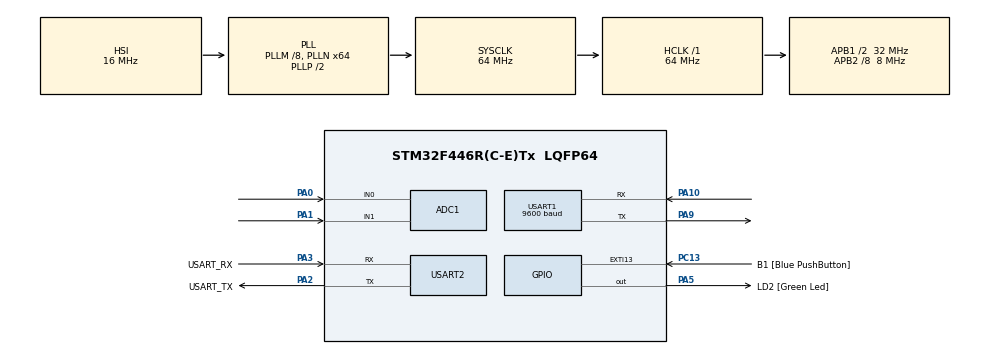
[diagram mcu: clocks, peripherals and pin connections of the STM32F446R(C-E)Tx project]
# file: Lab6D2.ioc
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ADC1.Channel-0\#ChannelRegularConversion=ADC_CHANNEL_0
ADC1.Channel-1\#ChannelRegularConversion=ADC_CHANNEL_1
ADC1.ClockPrescaler=ADC_CLOCK_SYNC_PCLK_DIV8
ADC1.ContinuousConvMode=ENABLE
ADC1.DMAContinuousRequests=ENABLE
ADC1.EOCSelection=ADC_EOC_SEQ_CONV
ADC1.NbrOfConversion=2
ADC1.NbrOfConversionFlag=1
ADC1.Rank-0\#ChannelRegularConversion=1
ADC1.Rank-1\#ChannelRegularConversion=2
ADC1.SamplingTime-0\#ChannelRegularConversion=ADC_SAMPLETIME_56CYCLES
ADC1.SamplingTime-1\#ChannelRegularConversion=ADC_SAMPLETIME_112CYCLES
ADC1.ScanConvMode=ENABLE
ADC1.master=1
Dma.ADC1.0.Direction=DMA_PERIPH_TO_MEMORY
Dma.ADC1.0.FIFOMode=DMA_FIFOMODE_DISABLE
Dma.ADC1.0.Instance=DMA2_Stream0
Dma.ADC1.0.MemDataAlignment=DMA_MDATAALIGN_HALFWORD
Dma.ADC1.0.MemInc=DMA_MINC_ENABLE
Dma.ADC1.0.Mode=DMA_CIRCULAR
Dma.ADC1.0.PeriphDataAlignment=DMA_PDATAALIGN_HALFWORD
Dma.ADC1.0.PeriphInc=DMA_PINC_DISABLE
Dma.ADC1.0.Priority=DMA_PRIORITY_LOW
Dma.Request0=ADC1
Mcu.Family=STM32F4
Mcu.Name=STM32F446R(C-E)Tx
Mcu.Package=LQFP64
NVIC.DMA2_Stream0_IRQn=true\:0\:0\:false\:false\:true\:false\:true\:true
NVIC.PriorityGroup=NVIC_PRIORITYGROUP_0
NVIC.USART1_IRQn=true\:0\:0\:false\:false\:true\:true\:true\:true
PA0-WKUP.Signal=ADCx_IN0
PA1.Signal=ADCx_IN1
PA10.Mode=Asynchronous
PA10.Signal=USART1_RX
PA13.GPIO_Label=TMS
PA13.Mode=Serial_Wire
PA13.Signal=SYS_JTMS-SWDIO
PA14.GPIO_Label=TCK
PA14.Mode=Serial_Wire
PA14.Signal=SYS_JTCK-SWCLK
PA2.GPIO_Label=USART_TX
PA2.Mode=Asynchronous
PA2.Signal=USART2_TX
PA3.GPIO_Label=USART_RX
PA3.Mode=Asynchronous
PA3.Signal=USART2_RX
PA5.GPIO_Label=LD2 [Green Led]
PA5.Signal=GPIO_Output
PA9.Mode=Asynchronous
PA9.Signal=USART1_TX
PB3.GPIO_Label=SWO
PB3.Signal=SYS_JTDO-SWO
PC13.GPIO_Label=B1 [Blue PushButton]
PC13.GPIO_ModeDefaultEXTI=GPIO_MODE_IT_FALLING
PC13.Signal=GPXTI13
PC14-OSC32_IN.Mode=LSE-External-Oscillator
PC14-OSC32_IN.Signal=RCC_OSC32_IN
PC15-OSC32_OUT.Mode=LSE-External-Oscillator
PC15-OSC32_OUT.Signal=RCC_OSC32_OUT
PH0-OSC_IN.Mode=HSE-External-Oscillator
PH0-OSC_IN.Signal=RCC_OSC_IN
PH1-OSC_OUT.Mode=HSE-External-Oscillator
PH1-OSC_OUT.Signal=RCC_OSC_OUT
ProjectManager.HeapSize=0x200
ProjectManager.StackSize=0x400
ProjectManager.TargetToolchain=STM32CubeIDE
RCC.48MHZClocksFreq_Value=84000000
RCC.AHBFreq_Value=64000000
RCC.APB1CLKDivider=RCC_HCLK_DIV2
RCC.APB1Freq_Value=32000000
RCC.APB1TimFreq_Value=64000000
RCC.APB2CLKDivider=RCC_HCLK_DIV8
RCC.APB2Freq_Value=8000000
RCC.APB2TimFreq_Value=16000000
RCC.CortexFreq_Value=64000000
RCC.FLatency-AdvancedSettings=FLASH_LATENCY_2
RCC.HCLKFreq_Value=64000000
RCC.HSE_VALUE=8000000
RCC.HSI_VALUE=16000000
RCC.PLLM=8
RCC.PLLN=64
RCC.SYSCLKFreq_VALUE=64000000
RCC.SYSCLKSource=RCC_SYSCLKSOURCE_PLLCLK
RCC.USBFreq_Value=64000000
RCC.VCOOutputFreq_Value=128000000
SH.ADCx_IN0.0=ADC1_IN0,IN0
SH.ADCx_IN1.0=ADC1_IN1,IN1
USART1.BaudRate=9600
USART1.VirtualMode=VM_ASYNC
USART2.VirtualMode=VM_ASYNC
board=NUCLEO-F446RE

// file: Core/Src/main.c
/* USER CODE BEGIN Header */
/**
  ******************************************************************************
  * @file           : main.c
  * @brief          : Main program body
  ******************************************************************************
  * @attention
  *
  * Copyright (c) 2026 STMicroelectronics.
  * All rights reserved.
  *
  * This software is licensed under terms that can be found in the LICENSE file
  * in the root directory of this software component.
  * If no LICENSE file comes with this software, it is provided AS-IS.
  *
  ******************************************************************************
  */
/* USER CODE END Header */
#include "main.h"

/* USER CODE BEGIN Includes */
#include <stdio.h>
#include <string.h>

/* USER CODE END Includes */

ADC_HandleTypeDef hadc1;
DMA_HandleTypeDef hdma_adc1;

UART_HandleTypeDef huart1;
UART_HandleTypeDef huart2;

/* USER CODE BEGIN PV */
volatile uint16_t ADCVal[2];

uint8_t dat;

/* USER CODE END PV */

void SystemClock_Config(void);
static void MX_GPIO_Init(void);
static void MX_DMA_Init(void);
static void MX_ADC1_Init(void);
static void MX_USART2_UART_Init(void);
static void MX_USART1_UART_Init(void);

int main(void)
{

  /* MCU Configuration--------------------------------------------------------*/

  /* Reset of all peripherals, Initializes the Flash interface and the Systick. */
  HAL_Init();

  /* Configure the system clock */
  SystemClock_Config();

  /* Initialize all configured peripherals */
  MX_GPIO_Init();
  MX_DMA_Init();
  MX_ADC1_Init();
  MX_USART2_UART_Init();
  MX_USART1_UART_Init();
  /* USER CODE BEGIN 2 */
  HAL_ADC_Start_DMA(&hadc1,(uint32_t *)ADCVal,2);
  HAL_UART_Receive_IT(&huart1, &dat,1);
  /* USER CODE END 2 */

  /* Infinite loop */
  while (1)
  {

    /* USER CODE BEGIN 3 */
	  HAL_Delay(500);
	  if(ADCVal[0]<1000)
	  {
		  char mens[] ="arriba c1\r\n";
		  HAL_UART_Transmit(&huart2,(uint8_t*)mens,strlen(mens),1000);
	  }
	  else if(ADCVal[0]>3000)
	  {
		  char mens[] = "abajo c1\r\n";
		  HAL_UART_Transmit(&huart2,(uint8_t*)mens,strlen(mens),1000);
	  }
	  if(ADCVal[1]>3000)
	  {
		  char mens[] ="izquierda c1\r\n";
		  HAL_UART_Transmit(&huart2, (uint8_t*)mens,strlen(mens),1000);
	  }

	  else if(ADCVal[1]<1000)
	  {
		  char mens[] ="derecha c1\r\n";
		  HAL_UART_Transmit(&huart2, (uint8_t*)mens,strlen(mens),1000);
	  }
  }
  /* USER CODE END 3 */
}

void SystemClock_Config(void)
{
  RCC_OscInitTypeDef RCC_OscInitStruct = {0};
  RCC_ClkInitTypeDef RCC_ClkInitStruct = {0};

  /** Configure the main internal regulator output voltage
  */
  __HAL_RCC_PWR_CLK_ENABLE();
  __HAL_PWR_VOLTAGESCALING_CONFIG(PWR_REGULATOR_VOLTAGE_SCALE3);

  /** Initializes the RCC Oscillators according to the specified parameters
  * in the RCC_OscInitTypeDef structure.
  */
  RCC_OscInitStruct.OscillatorType = RCC_OSCILLATORTYPE_HSI;
  RCC_OscInitStruct.HSIState = RCC_HSI_ON;
  RCC_OscInitStruct.HSICalibrationValue = RCC_HSICALIBRATION_DEFAULT;
  RCC_OscInitStruct.PLL.PLLState = RCC_PLL_ON;
  RCC_OscInitStruct.PLL.PLLSource = RCC_PLLSOURCE_HSI;
  RCC_OscInitStruct.PLL.PLLM = 8;
  RCC_OscInitStruct.PLL.PLLN = 64;
  RCC_OscInitStruct.PLL.PLLP = RCC_PLLP_DIV2;
  RCC_OscInitStruct.PLL.PLLQ = 2;
  RCC_OscInitStruct.PLL.PLLR = 2;
  if (HAL_RCC_OscConfig(&RCC_OscInitStruct) != HAL_OK)
  {
    Error_Handler();
  }

  /** Initializes the CPU, AHB and APB buses clocks
  */
  RCC_ClkInitStruct.ClockType = RCC_CLOCKTYPE_HCLK|RCC_CLOCKTYPE_SYSCLK
                              |RCC_CLOCKTYPE_PCLK1|RCC_CLOCKTYPE_PCLK2;
  RCC_ClkInitStruct.SYSCLKSource = RCC_SYSCLKSOURCE_PLLCLK;
  RCC_ClkInitStruct.AHBCLKDivider = RCC_SYSCLK_DIV1;
  RCC_ClkInitStruct.APB1CLKDivider = RCC_HCLK_DIV2;
  RCC_ClkInitStruct.APB2CLKDivider = RCC_HCLK_DIV8;

  if (HAL_RCC_ClockConfig(&RCC_ClkInitStruct, FLASH_LATENCY_2) != HAL_OK)
  {
    Error_Handler();
  }
}

static void MX_ADC1_Init(void)
{

  ADC_ChannelConfTypeDef sConfig = {0};

  /** Configure the global features of the ADC (Clock, Resolution, Data Alignment and number of conversion)
  */
  hadc1.Instance = ADC1;
  hadc1.Init.ClockPrescaler = ADC_CLOCK_SYNC_PCLK_DIV8;
  hadc1.Init.Resolution = ADC_RESOLUTION_12B;
  hadc1.Init.ScanConvMode = ENABLE;
  hadc1.Init.ContinuousConvMode = ENABLE;
  hadc1.Init.DiscontinuousConvMode = DISABLE;
  hadc1.Init.ExternalTrigConvEdge = ADC_EXTERNALTRIGCONVEDGE_NONE;
  hadc1.Init.ExternalTrigConv = ADC_SOFTWARE_START;
  hadc1.Init.DataAlign = ADC_DATAALIGN_RIGHT;
  hadc1.Init.NbrOfConversion = 2;
  hadc1.Init.DMAContinuousRequests = ENABLE;
  hadc1.Init.EOCSelection = ADC_EOC_SEQ_CONV;
  if (HAL_ADC_Init(&hadc1) != HAL_OK)
  {
    Error_Handler();
  }

  /** Configure for the selected ADC regular channel its corresponding rank in the sequencer and its sample time.
  */
  sConfig.Channel = ADC_CHANNEL_0;
  sConfig.Rank = 1;
  sConfig.SamplingTime = ADC_SAMPLETIME_56CYCLES;
  if (HAL_ADC_ConfigChannel(&hadc1, &sConfig) != HAL_OK)
  {
    Error_Handler();
  }

  /** Configure for the selected ADC regular channel its corresponding rank in the sequencer and its sample time.
  */
  sConfig.Channel = ADC_CHANNEL_1;
  sConfig.Rank = 2;
  sConfig.SamplingTime = ADC_SAMPLETIME_112CYCLES;
  if (HAL_ADC_ConfigChannel(&hadc1, &sConfig) != HAL_OK)
  {
    Error_Handler();
  }

}

static void MX_USART1_UART_Init(void)
{

  huart1.Instance = USART1;
  huart1.Init.BaudRate = 9600;
  huart1.Init.WordLength = UART_WORDLENGTH_8B;
  huart1.Init.StopBits = UART_STOPBITS_1;
  huart1.Init.Parity = UART_PARITY_NONE;
  huart1.Init.Mode = UART_MODE_TX_RX;
  huart1.Init.HwFlowCtl = UART_HWCONTROL_NONE;
  huart1.Init.OverSampling = UART_OVERSAMPLING_16;
  if (HAL_UART_Init(&huart1) != HAL_OK)
  {
    Error_Handler();
  }

}

static void MX_USART2_UART_Init(void)
{

  huart2.Instance = USART2;
  huart2.Init.BaudRate = 115200;
  huart2.Init.WordLength = UART_WORDLENGTH_8B;
  huart2.Init.StopBits = UART_STOPBITS_1;
  huart2.Init.Parity = UART_PARITY_NONE;
  huart2.Init.Mode = UART_MODE_TX_RX;
  huart2.Init.HwFlowCtl = UART_HWCONTROL_NONE;
  huart2.Init.OverSampling = UART_OVERSAMPLING_16;
  if (HAL_UART_Init(&huart2) != HAL_OK)
  {
    Error_Handler();
  }

}

static void MX_DMA_Init(void)
{

  /* DMA controller clock enable */
  __HAL_RCC_DMA2_CLK_ENABLE();

  /* DMA interrupt init */
  /* DMA2_Stream0_IRQn interrupt configuration */
  HAL_NVIC_SetPriority(DMA2_Stream0_IRQn, 0, 0);
  HAL_NVIC_EnableIRQ(DMA2_Stream0_IRQn);

}

static void MX_GPIO_Init(void)
{
  GPIO_InitTypeDef GPIO_InitStruct = {0};

  /* GPIO Ports Clock Enable */
  __HAL_RCC_GPIOC_CLK_ENABLE();
  __HAL_RCC_GPIOH_CLK_ENABLE();
  __HAL_RCC_GPIOA_CLK_ENABLE();
  __HAL_RCC_GPIOB_CLK_ENABLE();

  /*Configure GPIO pin Output Level */
  HAL_GPIO_WritePin(LD2_GPIO_Port, LD2_Pin, GPIO_PIN_RESET);

  /*Configure GPIO pin : B1_Pin */
  GPIO_InitStruct.Pin = B1_Pin;
  GPIO_InitStruct.Mode = GPIO_MODE_IT_FALLING;
  GPIO_InitStruct.Pull = GPIO_NOPULL;
  HAL_GPIO_Init(B1_GPIO_Port, &GPIO_InitStruct);

  /*Configure GPIO pin : LD2_Pin */
  GPIO_InitStruct.Pin = LD2_Pin;
  GPIO_InitStruct.Mode = GPIO_MODE_OUTPUT_PP;
  GPIO_InitStruct.Pull = GPIO_NOPULL;
  GPIO_InitStruct.Speed = GPIO_SPEED_FREQ_LOW;
  HAL_GPIO_Init(LD2_GPIO_Port, &GPIO_InitStruct);

}

/* USER CODE BEGIN 4 */
void HAL_ADC_ConvCpltCallback(ADC_HandleTypeDef *hadc)
{

}

void HAL_UART_RxCpltCallback(UART_HandleTypeDef *huart)
{
	if (huart->Instance == USART1) // Verifica que la interrupción sea del USART1
	    {
	switch(dat)
	        {
	            case '1':
	                HAL_UART_Transmit(&huart2, (uint8_t*)"Arriba\r\n", 8, 10);
	                break;
	            case '2':
	                HAL_UART_Transmit(&huart2, (uint8_t*)"Abajo\r\n", 7, 10);
	                break;
	            case '3':
	                HAL_UART_Transmit(&huart2, (uint8_t*)"Izquierda\r\n", 11, 10);
	                break;
	            case '4':
	                HAL_UART_Transmit(&huart2, (uint8_t*)"Derecha\r\n", 9, 10);
	                break;
	            case '5':
	                HAL_UART_Transmit(&huart2, (uint8_t*)"Boton A\r\n", 9, 10);
	                break;
	            case '6':
	                HAL_UART_Transmit(&huart2, (uint8_t*)"Boton B\r\n", 9, 10);
	                break;
	            default:
	                HAL_UART_Transmit(&huart2, (uint8_t*)"Comando desconocido\r\n", 21, 10);
	                break;
	        }
	 	 HAL_UART_Receive_IT(&huart1, &dat, 1);
	    }
}
/* USER CODE END 4 */

void Error_Handler(void)
{
  __disable_irq();
  while (1)
  {
  }
}
